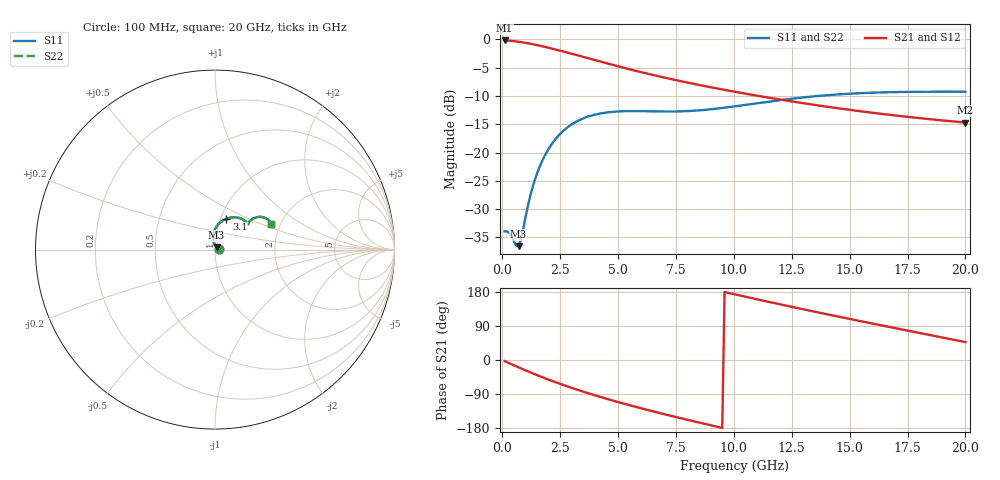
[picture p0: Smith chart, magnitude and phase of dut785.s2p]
! Touchstone file exported from HFSS 2024.1.0
!  File:  C:/UserFiles/LocalFiles/RDL_TSV_Batchsim/temp_RDL_TSV_785_1779906450.aedt
!  Generated:  02:44:35 AM May 28, 2026
!  Design:  RDL_TSV
!  Project:  temp_RDL_TSV_785_1779906450
!  Setup:  Setup1
!  Solution:  Sweep
! Variables:
!  dtsv = 12.53um
!  hbump = 3um
!  htsv = 96.69um
!  ldown = 635.64um
!  lrdl = 637.7um
!  p = 40
!  p1 = 56.55um
!  rhole = 10um
!  subl = 4457.72um
!  t = 450um
!  tdown = 4.08um
!  trdl = 3.52um
!  viad = 10um
!  wdown = 18.29um
!  wrdl = 24.01um
!  xbump = 18um
# GHz S MA R 50.000000
! Terminal data exported
! Port[1] = TM1_1_T1
! Port[2] = TM1_4_T1
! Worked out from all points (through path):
!   200 points, 100 MHz to 20 GHz, reference 50 ohm
!   highest |S21| = -0.18 dB at 100 MHz (marker M1); lowest = -14.7 dB at 20 GHz (marker M2)
!   group delay of S21, straight-line fit = 40.9 ps
!   lowest |S11| = -36.6 dB at 700 MHz (marker M3), VSWR 1.03, Z = 50.8 + j1.25 ohm
!   |S11| at or under -10 dB: start of sweep to 13.64 GHz
!   |S22| runs from -36.6 to -9.3 dB; largest |S21 - S12| = 8.8e-15
!   S11 on the Smith chart (normalised r, x): 100 MHz: 1.04, +0.00; 3.1 GHz: 1.07, +0.38; 20 GHz: 1.79, +0.58
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0.1  0.02006 5.1  0.9792 -2.9  0.9792 -2.9  0.02006 5.1
! Gamma 0 0 0 0
! Port Impedance 50 0 50 0
0.3  0.01949 12.4  0.9735 -8.5  0.9735 -8.5  0.01949 12.3
0.6  0.01497 37.8  0.9598 -16.7  0.9598 -16.7  0.01497 37.8
0.7  0.01485 55.6  0.954 -19.4  0.954 -19.4  0.01485 55.5
0.8  0.01687 73.5  0.9476 -22.1  0.9476 -22.1  0.01687 73.4
1.1  0.03332 98.9  0.9255 -29.9  0.9255 -29.9  0.03328 98.8
1.3  0.04854 101.4  0.9089 -34.9  0.9089 -34.9  0.04848 101.4
1.7  0.08222 97.2  0.8727 -44.7  0.8727 -44.7  0.0821 97.1
2.3  0.1315 85.3  0.8149 -58.5  0.8149 -58.5  0.1313 85.3
3.1  0.1827 69.8  0.7376 -75.6  0.7376 -75.6  0.1824 69.8
3.5  0.2007 63.1  0.7005 -83.6  0.7005 -83.6  0.2003 63.1
4.2  0.2209 53.4  0.6399 -96.9  0.6399 -96.9  0.2204 53.4
5  0.2307 45.3  0.5784 -111.0  0.5784 -111.0  0.2301 45.4
5.9  0.2321 39.8  0.5193 -125.9  0.5193 -125.9  0.2316 39.8
6.8  0.2305 37.4  0.4696 -140.0  0.4696 -140.0  0.23 37.5
8.3  0.2343 37.8  0.4033 -162.2  0.4033 -162.2  0.2339 37.9
10.1  0.257 39.4  0.3427 172.4  0.3427 172.4  0.2567 39.4
11.7  0.2855 38.6  0.3008 150.8  0.3008 150.8  0.2851 38.6
13.4  0.313 35.6  0.2652 128.6  0.2652 128.6  0.3124 35.7
15  0.3311 32.2  0.2385 108.4  0.2385 108.4  0.3303 32.2
16.7  0.3414 28.7  0.2157 87.4  0.2157 87.4  0.3403 28.8
20  0.3447 24.4  0.184 47.3  0.184 47.3  0.3434 24.6
